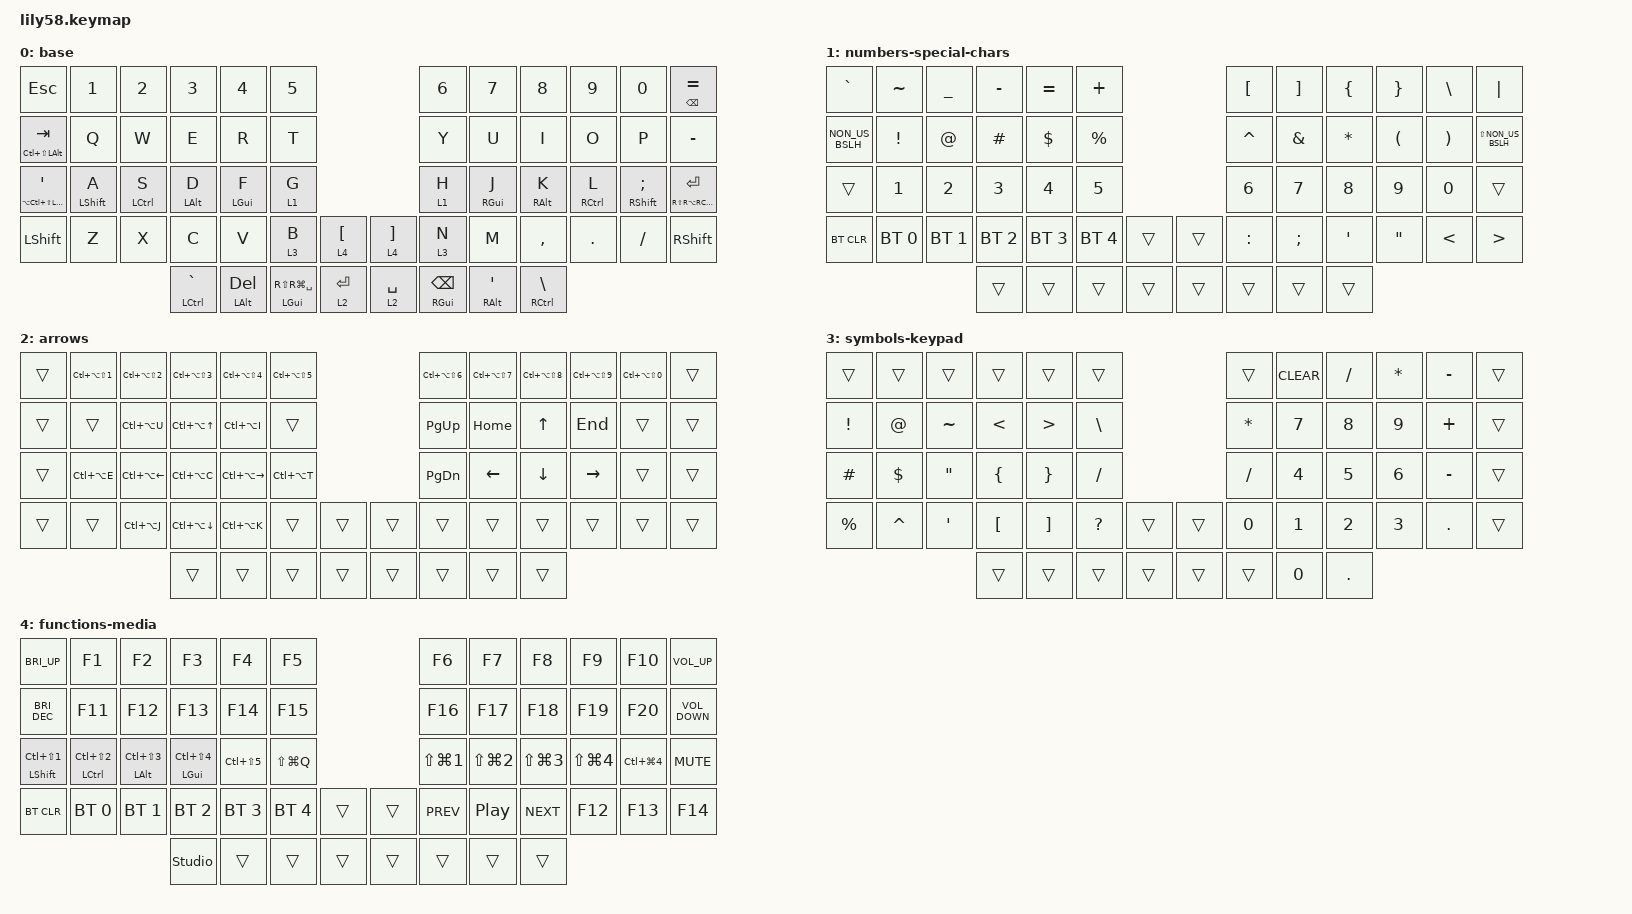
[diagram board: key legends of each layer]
/*
 * Copyright (c) 2020 The ZMK Contributors
 *
 * SPDX-License-Identifier: MIT
 */

#include <behaviors.dtsi>
#include <behaviors/studio_unlock.dtsi>
#include <dt-bindings/zmk/bt.h>
#include <dt-bindings/zmk/keys.h>

// Define aliases for Mac ISO keys that are missing from ZMK's standard keys.h
#define NON_US_SECTION NON_US_BSLH
#define PLUS_MINUS LS(NON_US_BSLH)
&mt {
    tapping-term-ms = <250>;
    flavor = "balanced";
    quick-tap-ms = <175>;
    require-prior-idle-ms = <0>;
};

&lt {
    tapping-term-ms = <250>;
    flavor = "tap-preferred";
    quick-tap-ms = <175>;
    require-prior-idle-ms = <0>;
};

/ {
    combos {
        compatible = "zmk,combos";

        backspace {
            bindings = <&kp BACKSPACE>;
            key-positions = <10 11>;
            layers = <0>;
        };

        expose {
            bindings = <&kp LC(UP_ARROW)>;
            key-positions = <53 54>;
        };
    };

    keymap {
        compatible = "zmk,keymap";

        base {
            label = "base";
            bindings = <
&kp ESC                                   &kp N1            &kp N2              &kp N3                  &kp N4               &kp N5                                                         &kp N6                   &kp N7                      &kp N8                       &kp N9               &kp N0                &mt /*=⌫*/ BACKSPACE EQUAL
&mt /*=MEH*/ LC(LS(LALT)) TAB              &kp Q             &kp W               &kp E                   &kp R                &kp T                                                          &kp Y                    &kp U                       &kp I                        &kp O                &kp P                 &kp MINUS
&mt /*=HYP*/ LA(LC(LS(LGUI))) SINGLE_QUOTE &mt /*=⇧*/ LEFT_SHIFT A &mt /*=⌃*/ LEFT_CONTROL S &mt /*=⌥*/ LEFT_ALT D &mt /*=⌘*/ LEFT_GUI F &lt /*=L1*/ 1 G                                         &lt /*=L1*/ 1 H          &mt /*=⌘*/ RIGHT_GUI J      &mt /*=⌥*/ RIGHT_ALT K        &mt /*=⌃*/ RIGHT_CONTROL L   &mt /*=⇧*/ RIGHT_SHIFT SEMI &mt /*=HYP*/ RS(RA(RC(RIGHT_GUI))) RET
&kp LSHFT                                 &kp Z             &kp X               &kp C                   &kp V                &lt /*=L3*/ 3 B                     &lt /*=L4*/ 4 LBKT &lt /*=L4*/ 4 RBKT &lt /*=L3*/ 3 N          &kp M                       &kp COMMA                    &kp DOT              &kp FSLH              &kp RSHFT
                                                                                &mt /*=⌃*/ LEFT_CONTROL GRAVE &mt /*=⌥*/ LEFT_ALT DELETE &mt /*=⌘*/ LEFT_GUI RS(RG(SPACE)) &lt /*=L2*/ 2 ENTER &lt /*=L2*/ 2 SPACE &mt /*=⌘*/ RIGHT_GUI BACKSPACE &mt /*=⌥*/ RIGHT_ALT SINGLE_QUOTE &mt /*=⌃*/ RIGHT_CONTROL BACKSLASH
            >;
        };

        numbers-special-chars {
            label = "numbers-special-chars";
            bindings = <
&kp /*=`*/ GRAVE &kp /*=~*/ TILDE    &kp /*=_*/ UNDER    &kp /*=-*/ MINUS    &kp /*==*/ EQUAL    &kp /*=+*/ PLUS                                                &kp /*=[*/ LBKT     &kp /*=]*/ RBKT     &kp /*={*/ LBRC        &kp /*=}*/ RBRC       &kp /*=\*/ BACKSLASH  &kp /*=|*/ PIPE
&kp /*=§*/ NON_US_SECTION &kp /*=!*/ EXCLAMATION &kp /*=@*/ AT &kp /*=#*/ HASH &kp /*=$*/ DOLLAR &kp /*=%*/ PERCENT                                             &kp /*=^*/ CARET    &kp /*=&*/ AMPS     &kp /*=**/ ASTERISK    &kp /*=(*/ LEFT_PARENTHESIS &kp /*=)*/ RIGHT_PARENTHESIS &kp /*=±*/ PLUS_MINUS
&trans           &kp /*=1*/ NUMBER_1 &kp /*=2*/ NUMBER_2 &kp /*=3*/ NUMBER_3 &kp /*=4*/ NUMBER_4 &kp /*=5*/ N5                                                  &kp /*=6*/ NUMBER_6 &kp /*=7*/ N7       &kp /*=8*/ N8          &kp /*=9*/ N9         &kp /*=0*/ N0         &trans
&bt /*=CLR*/ BT_CLR &bt BT_SEL 0     &bt BT_SEL 1        &bt BT_SEL 2        &bt BT_SEL 3        &bt BT_SEL 4        &trans                  &trans                 &kp /*=:*/ COLON    &kp /*=;*/ SEMI     &kp /*='*/ APOSTROPHE  &kp /*="*/ DOUBLE_QUOTES &kp /*=<*/ LESS_THAN  &kp /*=>*/ GREATER_THAN
                                                                             &trans              &trans              &trans                  &trans   &trans        &trans              &trans              &trans
            >;
        };

        arrows-windows {
            label = "arrows";
            bindings = <
&trans  &kp /*=MV 1*/ LC(LA(LS(N1)))    &kp /*=MV 2*/ LC(LA(LS(N2)))   &kp /*=MV 3*/ LC(LA(LS(N3)))  &kp /*=MV 4*/ LC(LA(LS(N4)))   &kp /*=MV 5*/ LC(LA(LS(N5)))                               &kp /*=MV 6*/ LC(LA(LS(N6))) &kp /*=MV 7*/ LC(LA(LS(N7))) &kp /*=MV 8*/ LC(LA(LS(N8))) &kp /*=MV 9*/ LC(LA(LS(N9))) &kp /*=MV 0*/ LC(LA(LS(N0))) &trans
&trans  &trans                          &kp /*=TOP-LFT*/ LC(LA(U))     &kp /*=▲-TOP*/ LC(LA(UP))     &kp /*=TOP-RGT*/ LC(LA(I))     &trans                                                      &kp /*=PG-UP*/ PAGE_UP       &kp /*=HOME*/ HOME           &kp /*=▲*/ UP                &kp /*=END*/ END             &trans                       &trans
&trans  &kp /*=⅔-LEFT*/ LC(LA(E))       &kp /*=LEFT*/ LC(LA(LEFT))     &kp /*=MAX*/ LC(LA(C))        &kp /*=RIGHT*/ LC(LA(RIGHT))   &kp /*=⅔-RGT*/ LC(LA(T))                                    &kp /*=PG-DN*/ PAGE_DOWN     &kp /*=◀*/ LEFT              &kp /*=▼*/ DOWN_ARROW        &kp /*=▶*/ RIGHT             &trans                       &trans
&trans  &trans                          &kp /*=BOT-LFT*/ LC(LA(J))     &kp /*=▼-BOT*/ LC(LA(DOWN))   &kp /*=BOT-RGT*/ LC(LA(K))     &trans                     &trans                  &trans   &trans                       &trans                       &trans                       &trans                       &trans                       &trans
                                                                        &trans                        &trans                         &trans                     &trans                  &trans   &trans                       &trans                       &trans
            >;
        };

        symbols-keypad {
            label = "symbols-keypad";
            bindings = <
&trans             &trans        &trans               &trans              &trans               &trans                           &trans     &kp /*=CLR*/ CLEAR &kp SLASH          &kp /*=**/ ASTRK   &kp MINUS          &trans
&kp /*=!*/ EXCLAMATION &kp /*=@*/ AT_SIGN &kp /*=~*/ TILDE     &kp /*=<*/ LESS_THAN &kp /*=>*/ GREATER_THAN &kp BACKSLASH       &kp /*=**/ ASTRK &kp N7             &kp N8             &kp N9             &kp PLUS           &trans
&kp /*=#*/ HASH    &kp /*=$*/ DOLLAR &kp /*="*/ DOUBLE_QUOTES &kp /*={*/ LEFT_BRACE &kp /*=}*/ RIGHT_BRACE &kp SLASH           &kp SLASH  &kp /*=4*/ NUMBER_4 &kp N5             &kp /*=6*/ NUMBER_6 &kp MINUS          &trans
&kp /*=%*/ PERCENT &kp /*=^*/ CARET &kp /*='*/ APOSTROPHE &kp /*=[*/ LEFT_BRACKET &kp /*=]*/ RIGHT_BRACKET &kp /*=?*/ QUESTION &trans &trans &kp N0     &kp /*=1*/ NUMBER_1 &kp /*=2*/ NUMBER_2 &kp /*=3*/ NUMBER_3 &kp PERIOD         &trans
                                                      &trans              &trans               &trans                           &trans     &trans  &trans            &kp N0             &kp PERIOD
            >;
        };

        functions-media {
            label = "functions-media";
            bindings = <
&kp /*=BR+*/ C_BRI_UP        &kp F1                    &kp F2                    &kp F3                    &kp F4                    &kp F5                                                    &kp F6                     &kp F7                     &kp F8                     &kp F9                     &kp F10                   &kp /*=VOL+*/ C_VOLUME_UP
&kp /*=BR-*/ C_BRI_DEC       &kp F11                   &kp F12                   &kp F13                   &kp F14                   &kp /*=TALK*/ F15                                         &kp F16                    &kp F17                    &kp F18                    &kp F19                    &kp F20                   &kp /*=VOL-*/ C_VOLUME_DOWN
&mt /*=SP 1*/ LEFT_SHIFT LC(LS(N1)) &mt /*=SP 2*/ LEFT_CONTROL LC(LS(N2)) &mt /*=SP 3*/ LEFT_ALT LC(LS(N3)) &mt /*=MSN C*/ LEFT_GUI LC(LS(N4)) &kp /*=DKTP*/ LC(LS(N5)) &kp /*=LOUT*/ LS(LG(Q))                       &kp /*=SCR_1*/ LS(LG(N1))  &kp /*=SCR_2*/ LS(LG(N2))  &kp /*=SCR_3*/ LS(LG(N3))  &kp /*=SCR_4*/ LS(LG(N4))  &kp /*=SCR_RE*/ LC(LG(N4)) &kp /*=🔇*/ C_MUTE
&bt /*=CLR*/ BT_CLR          &bt BT_SEL 0              &bt BT_SEL 1              &bt BT_SEL 2              &bt BT_SEL 3              &bt BT_SEL 4              &trans                &trans    &kp /*=⏮*/ C_PREV          &kp /*=⏯*/ C_PP            &kp /*=⏭*/ C_NEXT         &kp /*=🎙️▼*/ F12           &kp /*=🎙️▲*/ F13           &kp /*=🎙️🔇*/ F14
                                                                                 &studio_unlock            &trans                    &trans                    &trans                &trans    &trans                     &trans                     &trans
            >;
        };
    };
};
